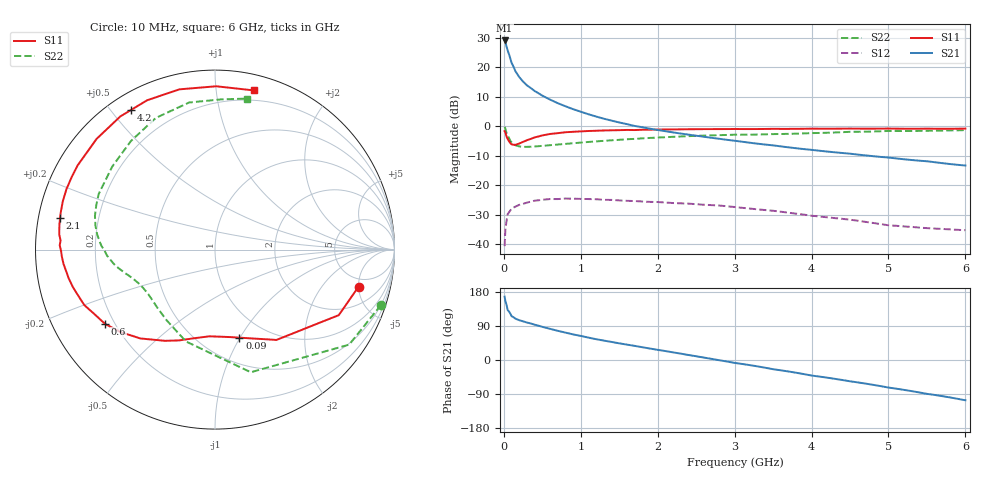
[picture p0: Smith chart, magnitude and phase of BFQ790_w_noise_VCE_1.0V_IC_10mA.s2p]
! Infineon Technologies  Discrete & RF Semiconductors
! BFQ790
! VCE =  1.0 V,  IC =  10 mA
! Common Emitter S-Parameters:  May 2015
# GHz  S  MA  R  50
!  f  S11  S21  S12  S22
! GHz  MAG  ANG  MAG  ANG  MAG  ANG  MAG  ANG
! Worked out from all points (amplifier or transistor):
!   77 points, 10 MHz to 6 GHz, reference 50 ohm
!   highest |S21| = 29.1 dB at 10 MHz (marker M1)
!   |S21| within 3 dB of that: start of sweep to 45.35 MHz
!   unconditionally stable (mu >= 1): 2.153 GHz to end of sweep
!   at 130 MHz: K = 0.67, MSG = 23.7 dB, |S12| = -27.5 dB
!   at 2.2 GHz: K = 1.01, MAG = 11.4 dB, |S12| = -26.0 dB
!   at 6 GHz: K = 5.07, MAG = 0.9 dB, |S12| = -35.2 dB
!   lowest NFmin = 2.10 dB at 450 MHz
!   S11 on the Smith chart (normalised r, x): 10 MHz: 3.83, -4.99; 90 MHz: 0.75, -0.99; 600 MHz: 0.16, -0.30; 2.1 GHz: 0.06, +0.10; 4.2 GHz: 0.06, +0.56; 6 GHz: 0.12, +1.26
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0.01  0.826 -14.5  28.38 167.2  0.0093 75.8  0.9747 -18.5
0.02  0.7804 -27.9  26.61 155.2  0.0177 65.1  0.9161 -35.3
0.05  0.6086 -55.8  19.17 131.7  0.0325 42.3  0.7119 -73.7
0.09  0.5092 -74.5  13.25 120.2  0.0384 29.5  0.5535 -99.3
0.1  0.4948 -80.1  11.9 115.6  0.0401 26.9  0.5369 -107.5
0.15  0.484 -93.6  8.573 109.2  0.0435 21.7  0.4766 -124.7
0.2  0.5085 -103.6  6.812 105.0  0.0466 18.5  0.4558 -134.9
0.25  0.5442 -111.6  5.708 102.0  0.0485 15.4  0.4481 -141.5
0.3  0.5794 -118.7  4.932 98.9  0.0508 12.1  0.4471 -146.1
0.4  0.647 -130.1  3.955 93.2  0.0548 7.7  0.454 -152.2
0.5  0.699 -138.9  3.3 87.5  0.0568 2.2  0.465 -156.1
0.6  0.7395 -146.0  2.83 82.3  0.0584 -2.1  0.4772 -159.0
0.7  0.7631 -152.1  2.461 77.1  0.0584 -6.1  0.4898 -161.4
0.8  0.7911 -157.0  2.182 72.3  0.0596 -10.9  0.502 -163.3
1.1  0.8305 -168.8  1.596 59.1  0.0584 -21.3  0.5415 -168.4
1.5  0.8578 -179.5  1.158 44.0  0.0554 -33.3  0.5888 -175.0
2.1  0.8804 168.6  0.824 23.6  0.051 -48.3  0.6518 174.5
3.1  0.8959 146.2  0.546 -10.5  0.0415 -72.7  0.7187 151.7
4.1  0.9084 123.2  0.385 -43.7  0.0296 -89.6  0.7692 125.0
4.2  0.9078 121.0  0.373 -46.5  0.0287 -90.4  0.7753 122.2
5.1  0.91 99.9  0.285 -75.6  0.0206 -98.0  0.8301 97.5
6  0.9127 76.4  0.216 -106.3  0.0173 -91.7  0.8593 78.2
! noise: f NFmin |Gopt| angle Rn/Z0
0.45  2.1  0.38  85  0.37
0.9  2.34  0.53  146  0.17
1.5  2.99  0.71  177  0.07
1.8  3.51  0.73  -176  0.09
2.6  4.97  0.8  -157  0.34
3.5  6.68  0.95  -139  1.34
